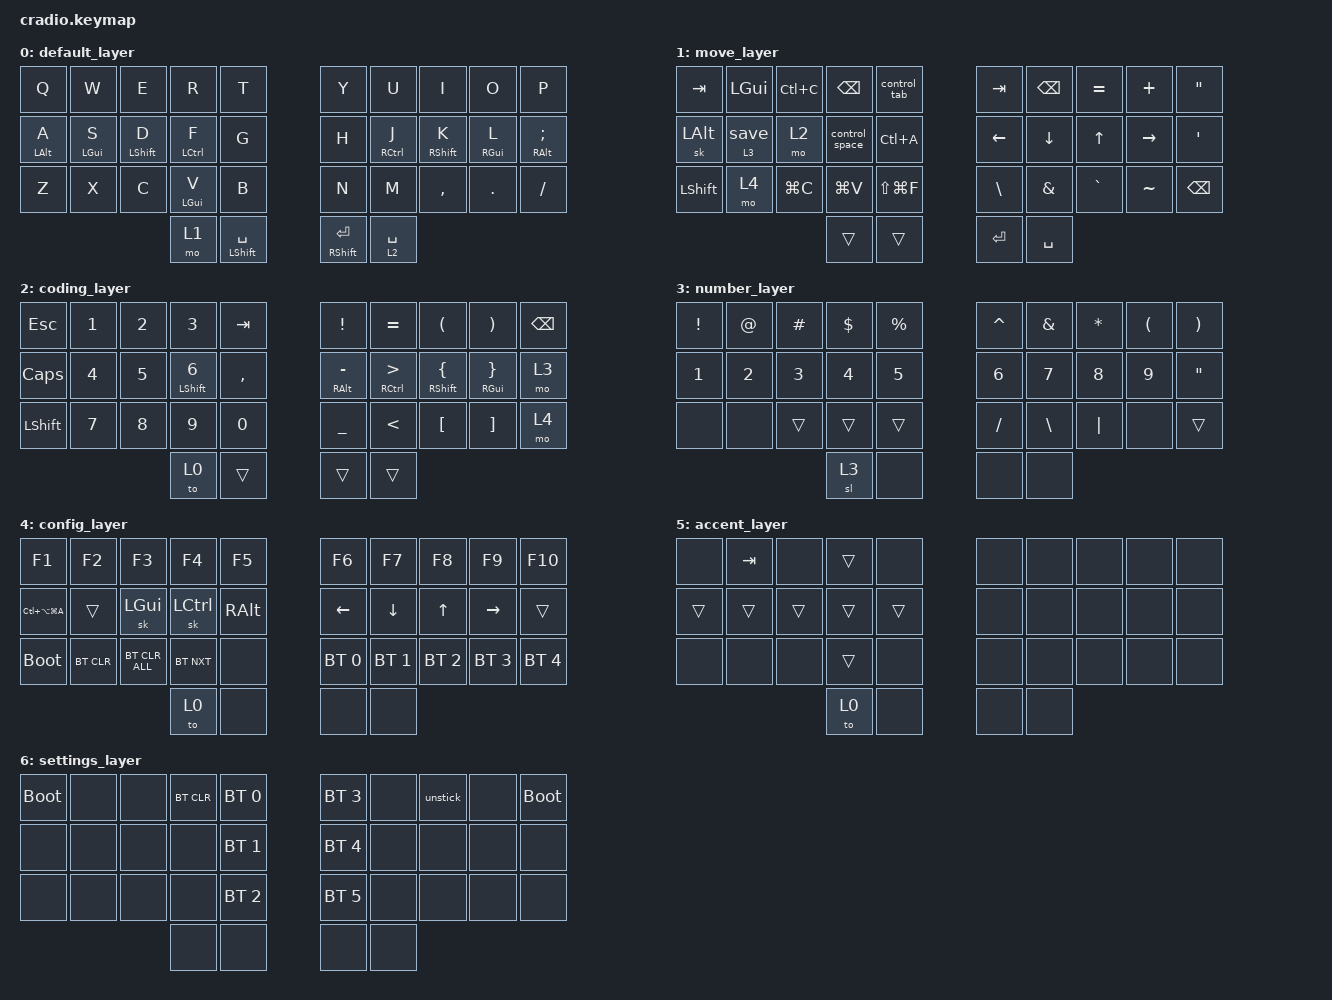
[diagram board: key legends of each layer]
/*
 * Copyright (c) 2020 The ZMK Contributors
 *
 * SPDX-License-Identifier: MIT
 */

#include "keymap_italian.h"
#include <behaviors.dtsi>
#include <dt-bindings/zmk/bt.h>
#include <dt-bindings/zmk/keys.h>

// Layer definitions

#define BASE 0
#define SYM 1
#define EXT 2
#define FNC 3
#define SYM2 4
#define ACCENT 5
#define SETTINGS 6

// -----------------

&mt {
    //  flavor = "tap-preferred";
    // tapping_term_ms = <200>;
};

&sk { ignore-modifiers; };

/ {
    macros {
        // sometimes my device thinks a modifier is being held down
        // pressing all modifiers fixes it.

        unstick: unstick {
            label = "ZM_unstick";
            compatible = "zmk,behavior-macro";
            #binding-cells = <0>;
            bindings = <&kp LSHIFT &kp RSHIFT &kp LCTRL &kp RCTRL &kp LALT &kp RALT &kp LGUI &kp RGUI>;
        };

        control_space: control_space {
            compatible = "zmk,behavior-macro";
            #binding-cells = <0>;
            bindings = <&kp LC(SPACE)>;
            label = "CONTROL_SPACE";
        };

        control_tab: control_tab {
            compatible = "zmk,behavior-macro";
            #binding-cells = <0>;
            bindings = <&kp LC(TAB)>;
            label = "CONTROL_TAB";
        };

        command_shift_p: control_p {
            compatible = "zmk,behavior-macro";
            #binding-cells = <0>;
            bindings = <&kp RS(RG(P))>;
            label = "CONTROL_P";
        };

        cmd_alt_i: cmd_alt_i {
            compatible = "zmk,behavior-macro";
            #binding-cells = <0>;
            bindings = <&kp LA(LG(I))>;
            label = "CMD_ALT_I";
        };

        save: save {
            compatible = "zmk,behavior-macro";
            #binding-cells = <0>;
            bindings = <&kp LG(S)>;
            label = "SAVE";
        };

        layer_hold: layer_hold {
            compatible = "zmk,behavior-macro";
            #binding-cells = <0>;
            bindings = <&macro_press>, <&mo 5>, <&macro_press>, <&kp LEFT_GUI>;

            label = "LAYER_HOLD";
        };
    };

    combos {
        compatible = "zmk,combos";

        // both right thumb keys

        combo_accent {
            timeout-ms = <300>;
            key-positions = <32 33>;
            bindings = <&mo 6>;
        };

        // internal-left & external-right thumb keys
        // both left thumb keys

        combo_settings {
            timeout-ms = <300>;
            key-positions = <30 31>;
            bindings = <&mo 6>;
        };

        layer_4 {
            bindings = <&mo 4>;
            key-positions = <29 33>;
        };

        layer_3 {
            bindings = <&mo 3>;
            key-positions = <33 19>;
        };

        layer_2_left {
            bindings = <&mo 2>;
            key-positions = <30 12>;
        };

        layer_3_left {
            bindings = <&mo 3>;
            key-positions = <30 11>;
        };

        layer_4_left {
            bindings = <&mo 4>;
            key-positions = <30 21>;
        };

        control_p {
            bindings = <&command_shift_p>;
            key-positions = <16 9>;
        };

        cmd_alt_i {
            bindings = <&cmd_alt_i>;
            key-positions = <30 10>;
        };

        command_tab {
            bindings = <&layer_hold>;
            key-positions = <30 0>;
        };
    };

    behaviors {
        layer_key: layer_key {
            compatible = "zmk,behavior-hold-tap";
            label = "LAYER_KEY";
            bindings = <&mo>, <&kp>;

            #binding-cells = <2>;
            tapping-term-ms = <250>;
            require-prior-idle-ms = <100>;
            flavor = "tap-preferred";
        };

        left_homerow: left_homerow {
            compatible = "zmk,behavior-hold-tap";
            label = "LEFT_HOMEROW";
            bindings = <&kp>, <&kp>;

            #binding-cells = <2>;
            tapping-term-ms = <250>;
            flavor = "tap-preferred";
            hold-trigger-key-positions = <5 6 7 8 9 15 16 17 18 19 25 26 27 28 29 32 33>;
            require-prior-idle-ms = <50>;
        };

        right_homerow: right_homerow {
            compatible = "zmk,behavior-hold-tap";
            label = "RIGHT_HOMEROW";
            bindings = <&kp>, <&kp>;

            #binding-cells = <2>;
            tapping-term-ms = <250>;
            flavor = "tap-preferred";
            hold-trigger-key-positions = <0 1 2 3 4 10 11 12 13 14 20 21 22 23 24 30 31>;
            require-prior-idle-ms = <50>;
        };

        layer_save: layer_save {
            compatible = "zmk,behavior-hold-tap";
            label = "LAYER_SAVE";
            bindings = <&mo>, <&save>;

            #binding-cells = <2>;
            tapping-term-ms = <250>;
            require-prior-idle-ms = <100>;
            flavor = "tap-preferred";
        };
    };

    keymap {
        compatible = "zmk,keymap";

        // Base alpha layer

        default_layer {
            bindings = <
&kp Q                     &kp W                     &kp E                       &kp R                         &kp T               &kp Y                  &kp U                           &kp I                         &kp O                       &kp P
&left_homerow LEFT_ALT A  &left_homerow LEFT_GUI S  &left_homerow LEFT_SHIFT D  &left_homerow LEFT_CONTROL F  &kp G               &kp H                  &right_homerow RIGHT_CONTROL J  &right_homerow RIGHT_SHIFT K  &right_homerow RIGHT_GUI L  &right_homerow RIGHT_ALT SEMI
&kp Z                     &kp X                     &kp C                       &left_homerow LEFT_GUI V      &kp B               &kp N                  &kp M                           &kp COMMA                     &kp DOT                     &kp SLASH
                                                                                &mo 1                         &mt LSHIFT SPACE    &mt RIGHT_SHIFT ENTER  &layer_key 2 SPACE
            >;
        };

        move_layer {
            bindings = <
&kp TAB         &kp LEFT_GUI     &kp LC(C)  &kp BACKSPACE   &control_tab     &kp TAB         &kp BACKSPACE  &kp EQUAL     &kp PLUS   &kp DOUBLE_QUOTES
&sk LALT        &layer_save 3 0  &mo 2      &control_space  &kp LC(A)        &kp LEFT_ARROW  &kp DOWN       &kp UP_ARROW  &kp RIGHT  &kp SINGLE_QUOTE
&kp LEFT_SHIFT  &mo 4            &kp LG(C)  &kp LG(V)       &kp LS(LG(F))    &kp BACKSLASH   &kp AMPS       &kp GRAVE     &kp TILDE  &kp BACKSPACE
                                            &trans          &trans           &kp ENTER       &kp SPACE
            >;
        };

        coding_layer {
            bindings = <
&kp ESCAPE  &kp NUMBER_1  &kp N2        &kp NUMBER_3       &kp TAB      &kp EXCL             &kp EQUAL                       &kp LEFT_PARENTHESIS        &kp RIGHT_PARENTHESIS            &kp BACKSPACE
&kp CAPS    &kp NUMBER_4  &kp NUMBER_5  &mt LEFT_SHIFT N6  &kp COMMA    &mt RIGHT_ALT MINUS  &mt RIGHT_CONTROL GREATER_THAN  &mt RIGHT_SHIFT LEFT_BRACE  &right_homerow RGUI RIGHT_BRACE  &mo 3
&kp LSHFT   &kp N7        &kp N8        &kp N9             &kp N0       &kp UNDER            &kp LESS_THAN                   &kp LEFT_BRACKET            &kp RIGHT_BRACKET                &mo 4
                                        &to 0              &trans       &trans               &trans
            >;
        };

        number_layer {
            bindings = <
&kp EXCL      &kp AT        &kp HASH      &kp DLLR      &kp PERCENT    &kp CARET     &kp AMPS       &kp STAR  &kp LEFT_PARENTHESIS  &kp RIGHT_PARENTHESIS
&kp NUMBER_1  &kp NUMBER_2  &kp NUMBER_3  &kp NUMBER_4  &kp N5         &kp NUMBER_6  &kp N7         &kp N8    &kp N9                &kp DOUBLE_QUOTES
&none         &none         &trans        &trans        &trans         &kp SLASH     &kp BACKSLASH  &kp PIPE  &none                 &trans
                                          &sl 3         &none          &none         &none
            >;
        };

        config_layer {
            bindings = <
&kp F1             &kp F2      &kp F3          &kp F4      &kp F5      &kp F6          &kp F7        &kp F8        &kp F9        &kp F10
&kp LC(LA(LG(A)))  &trans      &sk LEFT_GUI    &sk LCTRL   &kp RALT    &kp LEFT_ARROW  &kp DOWN      &kp UP_ARROW  &kp RIGHT     &trans
&bootloader        &bt BT_CLR  &bt BT_CLR_ALL  &bt BT_NXT  &none       &bt BT_SEL 0    &bt BT_SEL 1  &bt BT_SEL 2  &bt BT_SEL 3  &bt BT_SEL 4
                                               &to 0       &none       &none           &none
            >;
        };

        accent_layer {
            bindings = <
&none   &kp TAB  &none   &trans  &none     &none  &none  &none  &none  &none
&trans  &trans   &trans  &trans  &trans    &none  &none  &none  &none  &none
&none   &none    &none   &trans  &none     &none  &none  &none  &none  &none
                         &to 0   &none     &none  &none
            >;
        };

        settings_layer {
            bindings = <
&bootloader  &none  &none  &bt BT_CLR  &bt BT_SEL 0    &bt BT_SEL 3  &none  &unstick  &none  &bootloader
&none        &none  &none  &none       &bt BT_SEL 1    &bt BT_SEL 4  &none  &none     &none  &none
&none        &none  &none  &none       &bt BT_SEL 2    &bt BT_SEL 5  &none  &none     &none  &none
                           &none       &none           &none         &none
            >;
        };
    };
};
